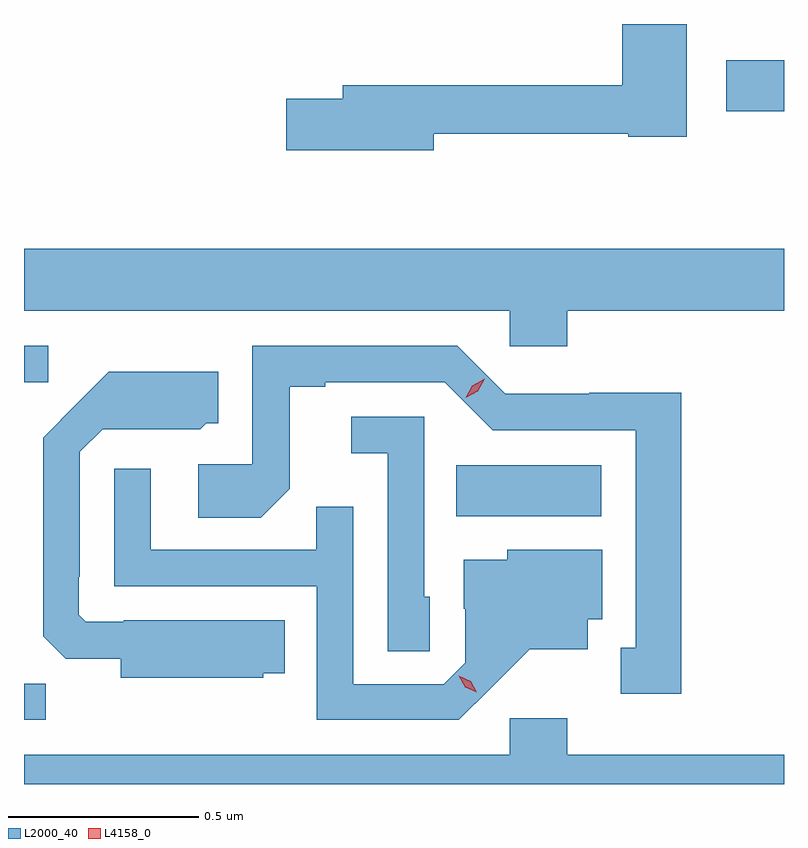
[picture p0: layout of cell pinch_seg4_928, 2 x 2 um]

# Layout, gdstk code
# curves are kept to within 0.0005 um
import gdstk
lib = gdstk.Library(unit=1e-6, precision=1e-09)
def R(c, l, rs):  # rectangles x0, y0, x1, y1
    for r in rs: c.add(gdstk.rectangle(r[:2], r[2:], *l))
def P(c, l, *ps):  # polygons
    for p in ps: c.add(gdstk.Polygon(p, *l))
L2000_40 = (2000, 40)
L4158_0 = (4158, 0)

pinch_seg4_928 = lib.new_cell('pinch_seg4_928')
R(pinch_seg4_928, L2000_40, [(743.4,826.38,743.457,826.475), (744.538,826.916,744.919,827.05), (743.4,827.268,743.464,827.364), (745.248,827.981,745.4,828.116)])
P(pinch_seg4_928, L2000_40, [(744.478,827.922),(744.99,827.922),(744.99,827.914),(745.144,827.914),(745.144,828.211),(744.974,828.211),(744.974,828.05),(744.239,828.05),(744.239,828.014),(744.09,828.014),(744.09,827.879),(744.478,827.879)],
  [(744.83,827.456),(745.4,827.456),(745.4,827.62),(743.4,827.62),(743.4,827.456),(744.678,827.456),(744.678,827.363),(744.83,827.363)],
  [(745.129,827.24),(744.888,827.24),(744.888,827.238),(744.666,827.238),(744.54,827.364),(744,827.364),(744,827.052),(743.859,827.052),(743.859,826.912),(744.023,826.912),(744.099,826.988),(744.099,827.256),(744.193,827.256),(744.193,827.268),(744.507,827.268),(744.633,827.142),(745.01,827.142),(745.01,826.569),(744.971,826.569),(744.971,826.449),(745.129,826.449)],
  [(744.03,826.502),(744.086,826.502),(744.086,826.642),(743.662,826.642),(743.662,826.638),(743.562,826.638),(743.544,826.656),(743.544,826.756),(743.547,826.756),(743.547,827.085),(743.607,827.145),(743.73,827.145),(743.73,827.144),(743.864,827.144),(743.88,827.16),(743.911,827.16),(743.911,827.296),(743.623,827.296),(743.451,827.122),(743.451,826.6),(743.51,826.541),(743.654,826.541),(743.654,826.49),(744.03,826.49)],
  [(744.468,826.704),(744.453,826.704),(744.453,827.178),(744.261,827.178),(744.261,827.081),(744.357,827.081),(744.357,826.561),(744.468,826.561)],
  [(744.628,826.463),(744.731,826.565),(744.883,826.565),(744.883,826.644),(744.922,826.644),(744.922,826.828),(744.672,826.828),(744.672,826.801),(744.557,826.801),(744.557,826.672),(744.561,826.672),(744.561,826.53),(744.504,826.473),(744.267,826.473),(744.267,826.94),(744.169,826.94),(744.169,826.827),(743.733,826.827),(743.733,827.041),(743.637,827.041),(743.637,826.731),(744.171,826.731),(744.171,826.38),(744.544,826.38)],
  [(745.4,826.288),(744.83,826.288),(744.83,826.384),(744.678,826.384),(744.678,826.288),(743.4,826.288),(743.4,826.211),(745.4,826.211)])
P(pinch_seg4_928, L4158_0, [(744.562,827.227),(744.562,827.227),(744.58,827.259),(744.612,827.277),(744.612,827.277),(744.612,827.277),(744.594,827.245),(744.562,827.227)],
  [(744.592,826.452),(744.561,826.466),(744.544,826.496),(744.544,826.496),(744.544,826.496),(744.575,826.481),(744.592,826.452),(744.592,826.452)])

lib.write_gds('pinch_seg4_928.gds')
